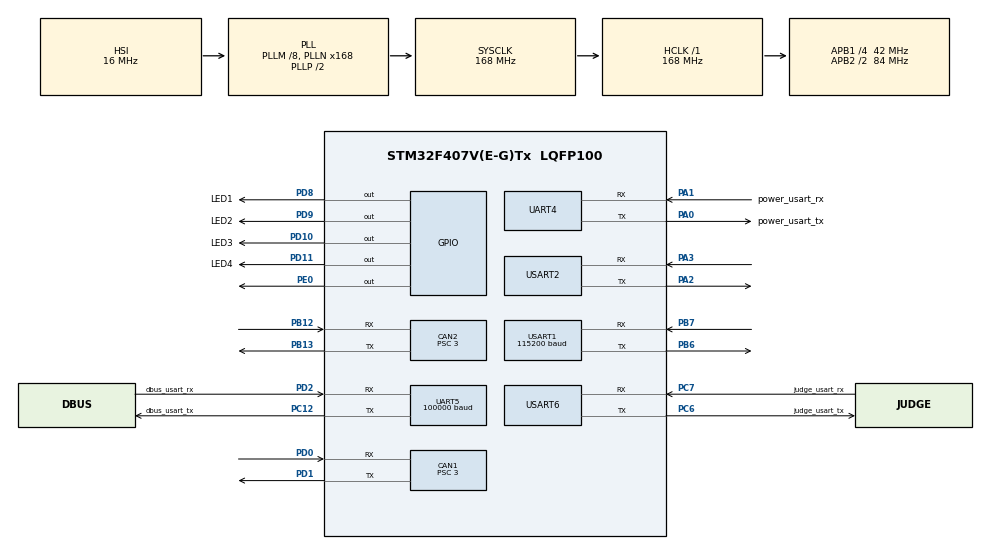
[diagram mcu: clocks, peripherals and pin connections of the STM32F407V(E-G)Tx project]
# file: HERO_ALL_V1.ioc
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CAN1.BS1=CAN_BS1_10TQ
CAN1.BS2=CAN_BS2_3TQ
CAN1.CalculateBaudRate=1000000
CAN1.CalculateTimeBit=999.99
CAN1.CalculateTimeQuantum=71.42857142857143
CAN1.Prescaler=3
CAN2.BS1=CAN_BS1_10TQ
CAN2.BS2=CAN_BS2_3TQ
CAN2.CalculateBaudRate=1000000
CAN2.CalculateTimeBit=999.99
CAN2.CalculateTimeQuantum=71.42857142857143
CAN2.Prescaler=3
Dma.Request0=UART5_RX
Dma.Request1=USART6_RX
Dma.Request2=USART6_TX
Dma.Request3=UART4_RX
Dma.Request4=USART2_RX
Dma.Request5=UART4_TX
Dma.UART4_RX.3.Direction=DMA_PERIPH_TO_MEMORY
Dma.UART4_RX.3.FIFOMode=DMA_FIFOMODE_ENABLE
Dma.UART4_RX.3.FIFOThreshold=DMA_FIFO_THRESHOLD_FULL
Dma.UART4_RX.3.Instance=DMA1_Stream2
Dma.UART4_RX.3.MemBurst=DMA_MBURST_SINGLE
Dma.UART4_RX.3.MemDataAlignment=DMA_MDATAALIGN_BYTE
Dma.UART4_RX.3.MemInc=DMA_MINC_ENABLE
Dma.UART4_RX.3.Mode=DMA_NORMAL
Dma.UART4_RX.3.PeriphBurst=DMA_PBURST_SINGLE
Dma.UART4_RX.3.PeriphDataAlignment=DMA_PDATAALIGN_BYTE
Dma.UART4_RX.3.PeriphInc=DMA_PINC_DISABLE
Dma.UART4_RX.3.Priority=DMA_PRIORITY_HIGH
Dma.UART4_TX.5.Direction=DMA_MEMORY_TO_PERIPH
Dma.UART4_TX.5.FIFOMode=DMA_FIFOMODE_DISABLE
Dma.UART4_TX.5.Instance=DMA1_Stream4
Dma.UART4_TX.5.MemDataAlignment=DMA_MDATAALIGN_BYTE
Dma.UART4_TX.5.MemInc=DMA_MINC_ENABLE
Dma.UART4_TX.5.Mode=DMA_NORMAL
Dma.UART4_TX.5.PeriphDataAlignment=DMA_PDATAALIGN_BYTE
Dma.UART4_TX.5.PeriphInc=DMA_PINC_DISABLE
Dma.UART4_TX.5.Priority=DMA_PRIORITY_HIGH
Dma.UART5_RX.0.Direction=DMA_PERIPH_TO_MEMORY
Dma.UART5_RX.0.FIFOMode=DMA_FIFOMODE_DISABLE
Dma.UART5_RX.0.Instance=DMA1_Stream0
Dma.UART5_RX.0.MemDataAlignment=DMA_MDATAALIGN_BYTE
Dma.UART5_RX.0.MemInc=DMA_MINC_ENABLE
Dma.UART5_RX.0.Mode=DMA_NORMAL
Dma.UART5_RX.0.PeriphDataAlignment=DMA_PDATAALIGN_BYTE
Dma.UART5_RX.0.PeriphInc=DMA_PINC_DISABLE
Dma.UART5_RX.0.Priority=DMA_PRIORITY_HIGH
Dma.USART2_RX.4.Direction=DMA_PERIPH_TO_MEMORY
Dma.USART2_RX.4.FIFOMode=DMA_FIFOMODE_DISABLE
Dma.USART2_RX.4.Instance=DMA1_Stream5
Dma.USART2_RX.4.MemDataAlignment=DMA_MDATAALIGN_BYTE
Dma.USART2_RX.4.MemInc=DMA_MINC_ENABLE
Dma.USART2_RX.4.Mode=DMA_NORMAL
Dma.USART2_RX.4.PeriphDataAlignment=DMA_PDATAALIGN_BYTE
Dma.USART2_RX.4.PeriphInc=DMA_PINC_DISABLE
Dma.USART2_RX.4.Priority=DMA_PRIORITY_LOW
Dma.USART6_RX.1.Direction=DMA_PERIPH_TO_MEMORY
Dma.USART6_RX.1.FIFOMode=DMA_FIFOMODE_DISABLE
Dma.USART6_RX.1.Instance=DMA2_Stream1
Dma.USART6_RX.1.MemDataAlignment=DMA_MDATAALIGN_BYTE
Dma.USART6_RX.1.MemInc=DMA_MINC_ENABLE
Dma.USART6_RX.1.Mode=DMA_NORMAL
Dma.USART6_RX.1.PeriphDataAlignment=DMA_PDATAALIGN_BYTE
Dma.USART6_RX.1.PeriphInc=DMA_PINC_DISABLE
Dma.USART6_RX.1.Priority=DMA_PRIORITY_LOW
Dma.USART6_TX.2.Direction=DMA_MEMORY_TO_PERIPH
Dma.USART6_TX.2.FIFOMode=DMA_FIFOMODE_DISABLE
Dma.USART6_TX.2.Instance=DMA2_Stream6
Dma.USART6_TX.2.MemDataAlignment=DMA_MDATAALIGN_BYTE
Dma.USART6_TX.2.MemInc=DMA_MINC_ENABLE
Dma.USART6_TX.2.Mode=DMA_NORMAL
Dma.USART6_TX.2.PeriphDataAlignment=DMA_PDATAALIGN_BYTE
Dma.USART6_TX.2.PeriphInc=DMA_PINC_DISABLE
Dma.USART6_TX.2.Priority=DMA_PRIORITY_LOW
FREERTOS.INCLUDE_eTaskGetState=1
FREERTOS.INCLUDE_pcTaskGetTaskName=1
FREERTOS.INCLUDE_uxTaskGetStackHighWaterMark=1
FREERTOS.INCLUDE_uxTaskGetStackHighWaterMark2=1
FREERTOS.INCLUDE_vTaskCleanUpResources=1
FREERTOS.INCLUDE_vTaskDelayUntil=1
FREERTOS.INCLUDE_xEventGroupSetBitFromISR=1
FREERTOS.INCLUDE_xQueueGetMutexHolder=1
FREERTOS.INCLUDE_xSemaphoreGetMutexHolder=1
FREERTOS.INCLUDE_xTaskAbortDelay=1
FREERTOS.INCLUDE_xTaskGetCurrentTaskHandle=1
FREERTOS.INCLUDE_xTaskGetHandle=1
FREERTOS.INCLUDE_xTimerPendFunctionCall=1
FREERTOS.Tasks01=dbug,-1,128,dbug_task,As weak,NULL,Dynamic,NULL,NULL;gimbal,1,512,gimbal_task,As external,NULL,Dynamic,NULL,NULL;chassis,0,512,chassis_task,As external,NULL,Dynamic,NULL,NULL;detect,-1,256,detect_task,As external,NULL,Dynamic,NULL,NULL;cali,-1,512,cali_task,As external,NULL,Dynamic,NULL,NULL;judge,0,256,judge_task,As external,NULL,Dynamic,NULL,NULL;pid,2,256,pid_task,As external,NULL,Dynamic,NULL,NULL;shoot,0,128,shoot_task,As external,NULL,Dynamic,NULL,NULL;imu,2,128,imu_task,As external,NULL,Dynamic,NULL,NULL;idel,-3,128,idel_task,Default,NULL,Dynamic,NULL,NULL;can,2,256,can_task,As external,NULL,Dynamic,NULL,NULL
FREERTOS.configENABLE_FPU=1
FREERTOS.configGENERATE_RUN_TIME_STATS=1
FREERTOS.configUSE_STATS_FORMATTING_FUNCTIONS=1
FREERTOS.configUSE_TIMERS=1
FREERTOS.configUSE_TRACE_FACILITY=1
Mcu.Family=STM32F4
Mcu.Name=STM32F407V(E-G)Tx
Mcu.Package=LQFP100
NVIC.CAN1_RX0_IRQn=true\:5\:0\:false\:false\:true\:true\:true\:true
NVIC.CAN2_RX1_IRQn=true\:5\:0\:false\:false\:true\:true\:true\:true
NVIC.DMA1_Stream0_IRQn=true\:5\:0\:false\:false\:true\:true\:false\:true
NVIC.DMA1_Stream2_IRQn=true\:5\:0\:false\:false\:true\:true\:false\:true
NVIC.DMA1_Stream4_IRQn=true\:5\:0\:false\:false\:true\:true\:false\:true
NVIC.DMA1_Stream5_IRQn=true\:5\:0\:false\:false\:true\:true\:false\:true
NVIC.DMA2_Stream1_IRQn=true\:5\:0\:false\:false\:true\:true\:false\:true
NVIC.DMA2_Stream6_IRQn=true\:5\:0\:false\:false\:true\:true\:false\:true
NVIC.PriorityGroup=NVIC_PRIORITYGROUP_4
NVIC.TIM4_IRQn=true\:5\:0\:false\:false\:true\:true\:true\:true
NVIC.TIM6_DAC_IRQn=true\:5\:0\:false\:false\:true\:true\:true\:true
NVIC.TIM7_IRQn=true\:0\:0\:false\:false\:true\:false\:false\:true
NVIC.TimeBase=TIM7_IRQn
NVIC.TimeBaseIP=TIM7
NVIC.UART4_IRQn=true\:5\:0\:false\:false\:true\:true\:true\:true
NVIC.UART5_IRQn=true\:5\:0\:false\:false\:false\:true\:true\:true
NVIC.USART2_IRQn=true\:5\:0\:false\:false\:true\:true\:true\:true
NVIC.USART6_IRQn=true\:5\:0\:false\:false\:false\:true\:true\:true
PA0-WKUP.GPIO_Label=power_usart_tx
PA0-WKUP.Mode=Asynchronous
PA0-WKUP.Signal=UART4_TX
PA1.GPIO_Label=power_usart_rx
PA1.Mode=Asynchronous
PA1.Signal=UART4_RX
PA13.Mode=Serial_Wire
PA13.Signal=SYS_JTMS-SWDIO
PA14.Mode=Serial_Wire
PA14.Signal=SYS_JTCK-SWCLK
PA2.Mode=Asynchronous
PA2.Signal=USART2_TX
PA3.Mode=Asynchronous
PA3.Signal=USART2_RX
PB12.Mode=CAN_Activate
PB12.Signal=CAN2_RX
PB13.Mode=CAN_Activate
PB13.Signal=CAN2_TX
PB6.Mode=Asynchronous
PB6.Signal=USART1_TX
PB7.Mode=Asynchronous
PB7.Signal=USART1_RX
PC12.GPIO_Label=dbus_usart_tx
PC12.Mode=Asynchronous
PC12.Signal=UART5_TX
PC6.GPIO_Label=judge_usart_tx
PC6.Mode=Asynchronous
PC6.Signal=USART6_TX
PC7.GPIO_Label=judge_usart_rx
PC7.Mode=Asynchronous
PC7.Signal=USART6_RX
PD0.Mode=CAN_Activate
PD0.Signal=CAN1_RX
PD1.Mode=CAN_Activate
PD1.Signal=CAN1_TX
PD10.GPIO_Label=LED3
PD10.Signal=GPIO_Output
PD11.GPIO_Label=LED4
PD11.Signal=GPIO_Output
PD2.GPIO_Label=dbus_usart_rx
PD2.Mode=Asynchronous
PD2.Signal=UART5_RX
PD8.GPIO_Label=LED1
PD8.Signal=GPIO_Output
PD9.GPIO_Label=LED2
PD9.Signal=GPIO_Output
PE0.Signal=GPIO_Output
PH0-OSC_IN.Mode=HSE-External-Oscillator
PH0-OSC_IN.Signal=RCC_OSC_IN
PH1-OSC_OUT.Mode=HSE-External-Oscillator
PH1-OSC_OUT.Signal=RCC_OSC_OUT
ProjectManager.HeapSize=0x200
ProjectManager.StackSize=0x400
ProjectManager.TargetToolchain=MDK-ARM V5.27
RCC.48MHZClocksFreq_Value=84000000
RCC.AHBFreq_Value=168000000
RCC.APB1CLKDivider=RCC_HCLK_DIV4
RCC.APB1Freq_Value=42000000
RCC.APB1TimFreq_Value=84000000
RCC.APB2CLKDivider=RCC_HCLK_DIV2
RCC.APB2Freq_Value=84000000
RCC.APB2TimFreq_Value=168000000
RCC.CortexFreq_Value=168000000
RCC.HCLKFreq_Value=168000000
RCC.HSE_VALUE=8000000
RCC.HSI_VALUE=16000000
RCC.LSE_VALUE=32768
RCC.PLLM=8
RCC.PLLN=168
RCC.SYSCLKFreq_VALUE=168000000
RCC.SYSCLKSource=RCC_SYSCLKSOURCE_PLLCLK
RCC.VCOOutputFreq_Value=336000000
TIM4.AutoReloadPreload=TIM_AUTORELOAD_PRELOAD_ENABLE
TIM4.Period=20000-1
TIM4.Prescaler=167
TIM6.AutoReloadPreload=TIM_AUTORELOAD_PRELOAD_ENABLE
TIM6.Period=100-1
TIM6.Prescaler=7-1
UART4.VirtualMode=Asynchronous
UART5.BaudRate=100000
UART5.Parity=PARITY_EVEN
UART5.VirtualMode=Asynchronous
UART5.WordLength=WORDLENGTH_9B
USART1.BaudRate=115200
USART1.VirtualMode=VM_ASYNC
USART2.VirtualMode=VM_ASYNC
USART6.VirtualMode=VM_ASYNC
VP_FREERTOS_VS_CMSIS_V1.Mode=CMSIS_V1
VP_SYS_VS_tim7.Mode=TIM7
VP_TIM4_VS_ClockSourceINT.Mode=Internal
VP_TIM6_VS_ClockSourceINT.Mode=Enable_Timer
board=custom

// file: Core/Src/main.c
/* USER CODE BEGIN Header */
/**
  ******************************************************************************
  * @file           : main.c
  * @brief          : Main program body
  ******************************************************************************
  * @attention
  *
  * <h2><center>&copy; Copyright (c) 2021 STMicroelectronics.
  * All rights reserved.</center></h2>
  *
  * This software component is licensed by ST under Ultimate Liberty license
  * SLA0044, the "License"; You may not use this file except in compliance with
  * the License. You may obtain a copy of the License at:
  *                             www.st.com/SLA0044
  *
  ******************************************************************************
  */
/* USER CODE END Header */
#include "main.h"
#include "cmsis_os.h"
#include "can.h"
#include "dma.h"
#include "tim.h"
#include "usart.h"
#include "gpio.h"

/* USER CODE BEGIN Includes */
#include "remote_control.h"
#include "bsp_can.h"
#include "ins_task.h"
#include "calibrate_task.h"
#include "gimbal_task.h"
#include "gimbal_behaviour.h"
#include "chassis_task.h"
#include "chassis_behaviour.h"
#include "shoot_task.h"
#include "CMS_interface.h"
/* USER CODE END Includes */

#include "UI_bsp.h"

void SystemClock_Config(void);
void MX_FREERTOS_Init(void);

/* USER CODE BEGIN 0 */
const RC_ctrl_t *local_rc_ctrl;
const motor_measure_t * yaw;
const motor_measure_t * pitch;
const motor_measure_t * shoot1;
const motor_measure_t * shoot2;
const motor_measure_t * trigle;
uint8_t pcWriteBuffer[200];
volatile uint32_t ulHighFrequencyTimerTicks;

/* USER CODE END 0 */

int main(void)
{

  /* MCU Configuration--------------------------------------------------------*/

  /* Reset of all peripherals, Initializes the Flash interface and the Systick. */
  HAL_Init();

  /* Configure the system clock */
  SystemClock_Config();

  /* USER CODE BEGIN SysInit */
   HAL_Delay(500);
  /* USER CODE END SysInit */

  /* Initialize all configured peripherals */
  MX_GPIO_Init();
  MX_DMA_Init();
  MX_CAN1_Init();
  MX_CAN2_Init();
  MX_UART4_Init();
  MX_UART5_Init();
  MX_USART1_UART_Init();
  MX_USART6_UART_Init();
  MX_USART2_UART_Init();
  MX_TIM4_Init();
  MX_TIM6_Init();
  /* USER CODE BEGIN 2 */
	can_filter_init();
	remote_control_init();
	cali_param_init();
	//local_rc_ctrl = get_remote_control_point();
	yaw = get_yaw_gimbal_motor_measure_point();
	//pitch = get_pitch_gimbal_motor_measure_point();
	//shoot1 = get_shoot_motor_measure_point(0);
	//shoot2 = get_shoot_motor_measure_point(1);
	//HAL_GPIO_WritePin(GPIOE,GPIO_PIN_0,GPIO_PIN_SET);
	//trigle = get_yaw_gimbal_motor_measure_point();
	HAL_TIM_Base_Start_IT(&htim6);
	HAL_TIM_Base_Start_IT(&htim4);
	USER_CMS_init(&huart4,&CMS_Hub,&hdma_uart4_tx,&hdma_uart4_rx);
	//while(1){
			//USER_ReadPowerState();
	//		HAL_Delay(100);
	//}
	//HAL_UART_Receive_IT(&huart4,RxData,1);
  /* USER CODE END 2 */

  /* Call init function for freertos objects (in freertos.c) */
  MX_FREERTOS_Init();
  /* Start scheduler */
  osKernelStart();

  /* We should never get here as control is now taken by the scheduler */
  /* Infinite loop */
  while (1)
  {

  }
}

void SystemClock_Config(void)
{
  RCC_OscInitTypeDef RCC_OscInitStruct = {0};
  RCC_ClkInitTypeDef RCC_ClkInitStruct = {0};

  /** Configure the main internal regulator output voltage
  */
  __HAL_RCC_PWR_CLK_ENABLE();
  __HAL_PWR_VOLTAGESCALING_CONFIG(PWR_REGULATOR_VOLTAGE_SCALE1);
  /** Initializes the RCC Oscillators according to the specified parameters
  * in the RCC_OscInitTypeDef structure.
  */
  RCC_OscInitStruct.OscillatorType = RCC_OSCILLATORTYPE_HSI;
  RCC_OscInitStruct.HSIState = RCC_HSI_ON;
  RCC_OscInitStruct.HSICalibrationValue = RCC_HSICALIBRATION_DEFAULT;
  RCC_OscInitStruct.PLL.PLLState = RCC_PLL_ON;
  RCC_OscInitStruct.PLL.PLLSource = RCC_PLLSOURCE_HSI;
  RCC_OscInitStruct.PLL.PLLM = 8;
  RCC_OscInitStruct.PLL.PLLN = 168;
  RCC_OscInitStruct.PLL.PLLP = RCC_PLLP_DIV2;
  RCC_OscInitStruct.PLL.PLLQ = 4;
  if (HAL_RCC_OscConfig(&RCC_OscInitStruct) != HAL_OK)
  {
    Error_Handler();
  }
  /** Initializes the CPU, AHB and APB buses clocks
  */
  RCC_ClkInitStruct.ClockType = RCC_CLOCKTYPE_HCLK|RCC_CLOCKTYPE_SYSCLK
                              |RCC_CLOCKTYPE_PCLK1|RCC_CLOCKTYPE_PCLK2;
  RCC_ClkInitStruct.SYSCLKSource = RCC_SYSCLKSOURCE_PLLCLK;
  RCC_ClkInitStruct.AHBCLKDivider = RCC_SYSCLK_DIV1;
  RCC_ClkInitStruct.APB1CLKDivider = RCC_HCLK_DIV4;
  RCC_ClkInitStruct.APB2CLKDivider = RCC_HCLK_DIV2;

  if (HAL_RCC_ClockConfig(&RCC_ClkInitStruct, FLASH_LATENCY_5) != HAL_OK)
  {
    Error_Handler();
  }
}

/* USER CODE BEGIN 4 */
void dbug_task(void const * argument)
{
	uint32_t xLastWakeTime;
	xLastWakeTime = osKernelSysTick();

	while(1)
	{

		//printf("name            count              rate\r\n");
//		U1printf("name            count              rate\r\n");
//		vTaskGetRunTimeStats((char *)&pcWriteBuffer);
//		U1printf("%s\r\n", pcWriteBuffer);
		//printf("pit_kp         %f\r\n",gimbal_control.gimbal_pitch_motor.gimbal_motor_relative_angle_pid.kp);
		//printf("                    pit_ki         %f\r\n",gimbal_control.gimbal_pitch_motor.gimbal_motor_relative_angle_pid.ki);
		//printf("                    pit_kd         %f\r\n",gimbal_control.gimbal_pitch_motor.gimbal_motor_relative_angle_pid.kd);
		//printf("                    pit_angl_out         %f\r\n",gimbal_control.gimbal_pitch_motor.gimbal_motor_relative_angle_pid.out);
		//printf("                    pit_angl_iout         %f\r\n",gimbal_control.gimbal_pitch_motor.gimbal_motor_relative_angle_pid.Iout);
		//printf("                    pit_gyro_out         %f\r\n",gimbal_control.gimbal_pitch_motor.gimbal_motor_gyro_pid.out);
		//printf("                    pit_angle          %d\r\n",gimbal_control.gimbal_pitch_motor.gimbal_motor_measure->ecd);

		//printf("yaw_kp         %f\r\n",gimbal_control.gimbal_yaw_motor.gimbal_motor_absolute_angle_pid.kp);
		//printf("                    yaw_ki         %f\r\n",gimbal_control.gimbal_yaw_motor.gimbal_motor_absolute_angle_pid.ki);
		//printf("                    yaw_kd         %f\r\n",gimbal_control.gimbal_yaw_motor.gimbal_motor_absolute_angle_pid.kd);

		//printf("		************************************************************************************         \r\n");
		//printf("		      yaw_angl_out         %f\r\n",					   gimbal_control.gimbal_yaw_motor.gimbal_motor_absolute_angle_pid.out);
		//printf("                    yaw_angl_iout          %f\r\n",gimbal_control.gimbal_yaw_motor.gimbal_motor_absolute_angle_pid.Iout);
		//printf("                    yaw_gyro_out           %f\r\n",gimbal_control.gimbal_yaw_motor.gimbal_motor_absolute_gyro_pid.out);
		//printf("                    yaw_current_set        %d\r\n",(int)gimbal_control.yaw_current_set);
		//printf("                    yaw_angle=     %f\r\n",gimbal_control.gimbal_yaw_motor.absolute_angle);
		//printf("		      yaw_angle_set=  %f\r\n",gimbal_control.gimbal_yaw_motor.absolute_angle_set);
		//printf("		      yaw_angle_err=         %f\r\n",gimbal_control.gimbal_yaw_motor.gimbal_motor_absolute_angle_pid.err);

		//printf("		      can_time=         %d\r\n",gimbal_control.time);
//		printf("set=%f\r\n",shoot_control.set_angle);
//	    printf("data=%f\r\n",shoot_control.angle);

		//printf("                    yaw_temp               %d\r\n",(int)gimbal_control.gimbal_yaw_motor.gimbal_motor_measure->temperate);

		//printf("                    can_yaw_speed          %d\r\n",(int)gimbal_control.can_yaw_speed);
//			   Circle_Draw(&G4,"004",UI_Graph_Change,9,UI_Color_Pink,8,700,700,100);
//			   UI_ReFresh(1,G4);
////			   printf("r/n");
////			   printf("******************************************************/r/n");
//			   Circle_Draw(&G4,"004",UI_Graph_Change,9,UI_Color_Cyan,8,700,700,100);
//			   UI_ReFresh(1,G4);
////			   printf("******************************************************/r/n");
//			   printf("r/n");

//		printf("\r\n");
//		printf(" * * * * * * * * * *\r\n");
//		printf("pit = %f \r\n",shoot_control.my_shoot_data.pit_set);
//		printf("yaw = %f \r\n",shoot_control.my_shoot_data.yaw_set);
//		printf("en  = %d \r\n",shoot_control.my_shoot_data.shoot_en);
//		printf(" * * * * * * * * * * \r\n");
//		printf("\r\n");
//
//		UI_paint_send(1);
//		//printf("%d",(int32_t)UI_DATA_SEND);
//		HAL_UART_Transmit(&huart6,UI_DATA_SEND , 30, 0xf);

		printf("\r\n");
		printf(" * * * * * * * * * *\r\n");
		printf("fric0_speed : %d\r\n",shoot_control.shoot_motor_measure0->speed_rpm);
		printf("fric1_speed : %d\r\n",shoot_control.shoot_motor_measure1->speed_rpm);
		printf("\r\n");
		printf(" * * * * * * * * * *\r\n");

		osDelayUntil(&xLastWakeTime,5);
	}

}

void configureTimerForRunTimeStats(void)
{
	ulHighFrequencyTimerTicks = 0ul;
}
unsigned long getRunTimeCounterValue(void)
{
	return ulHighFrequencyTimerTicks;
}
/* USER CODE END 4 */

 /**
  * @brief  Period elapsed callback in non blocking mode
  * @note   This function is called  when TIM7 interrupt took place, inside
  * HAL_TIM_IRQHandler(). It makes a direct call to HAL_IncTick() to increment
  * a global variable "uwTick" used as application time base.
  * @param  htim : TIM handle
  * @retval None
  */
void HAL_TIM_PeriodElapsedCallback(TIM_HandleTypeDef *htim)
{
  if (htim->Instance == TIM7) {
    HAL_IncTick();
  }
  /* USER CODE BEGIN Callback 1 */
  else if(__HAL_TIM_GET_IT_SOURCE(&htim6,TIM_IT_UPDATE)!=RESET)
  {
    ulHighFrequencyTimerTicks++;
    __HAL_TIM_CLEAR_IT(&htim6, TIM_IT_UPDATE);
  }

  if(htim->Instance == TIM4)
  {
		//CMS_Hub.Send_Flag = 1;

  }
  /* USER CODE END Callback 1 */
}

void Error_Handler(void)
{
  __disable_irq();
  while (1)
  {
  }
}

/************************ (C) COPYRIGHT STMicroelectronics *****END OF FILE****/

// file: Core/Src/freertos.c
/* USER CODE BEGIN Header */
/**
  ******************************************************************************
  * File Name          : freertos.c
  * Description        : Code for freertos applications
  ******************************************************************************
  * @attention
  *
  * <h2><center>&copy; Copyright (c) 2021 STMicroelectronics.
  * All rights reserved.</center></h2>
  *
  * This software component is licensed by ST under Ultimate Liberty license
  * SLA0044, the "License"; You may not use this file except in compliance with
  * the License. You may obtain a copy of the License at:
  *                             www.st.com/SLA0044
  *
  ******************************************************************************
  */
/* USER CODE END Header */

#include "FreeRTOS.h"
#include "task.h"
#include "main.h"
#include "cmsis_os.h"

osThreadId dbugHandle;
osThreadId gimbalHandle;
osThreadId chassisHandle;
osThreadId detectHandle;
osThreadId caliHandle;
osThreadId judgeHandle;
osThreadId pidHandle;
osThreadId shootHandle;
osThreadId imuHandle;
osThreadId idelHandle;
osThreadId canHandle;

void dbug_task(void const * argument);
extern void gimbal_task(void const * argument);
extern void chassis_task(void const * argument);
extern void detect_task(void const * argument);
extern void cali_task(void const * argument);
extern void judge_task(void const * argument);
extern void pid_task(void const * argument);
extern void shoot_task(void const * argument);
extern void imu_task(void const * argument);
void idel_task(void const * argument);
extern void can_task(void const * argument);

void MX_FREERTOS_Init(void); /* (MISRA C 2004 rule 8.1) */

/* GetIdleTaskMemory prototype (linked to static allocation support) */
void vApplicationGetIdleTaskMemory( StaticTask_t **ppxIdleTaskTCBBuffer, StackType_t **ppxIdleTaskStackBuffer, uint32_t *pulIdleTaskStackSize );

/* GetTimerTaskMemory prototype (linked to static allocation support) */
void vApplicationGetTimerTaskMemory( StaticTask_t **ppxTimerTaskTCBBuffer, StackType_t **ppxTimerTaskStackBuffer, uint32_t *pulTimerTaskStackSize );

/* Hook prototypes */
void configureTimerForRunTimeStats(void);
unsigned long getRunTimeCounterValue(void);

/* USER CODE BEGIN 1 */
/* Functions needed when configGENERATE_RUN_TIME_STATS is on */
__weak void configureTimerForRunTimeStats(void)
{

}

__weak unsigned long getRunTimeCounterValue(void)
{
return 0;
}
/* USER CODE END 1 */

/* USER CODE BEGIN GET_IDLE_TASK_MEMORY */
static StaticTask_t xIdleTaskTCBBuffer;
static StackType_t xIdleStack[configMINIMAL_STACK_SIZE];

void vApplicationGetIdleTaskMemory( StaticTask_t **ppxIdleTaskTCBBuffer, StackType_t **ppxIdleTaskStackBuffer, uint32_t *pulIdleTaskStackSize )
{
  *ppxIdleTaskTCBBuffer = &xIdleTaskTCBBuffer;
  *ppxIdleTaskStackBuffer = &xIdleStack[0];
  *pulIdleTaskStackSize = configMINIMAL_STACK_SIZE;
  /* place for user code */
}
/* USER CODE END GET_IDLE_TASK_MEMORY */

/* USER CODE BEGIN GET_TIMER_TASK_MEMORY */
static StaticTask_t xTimerTaskTCBBuffer;
static StackType_t xTimerStack[configTIMER_TASK_STACK_DEPTH];

void vApplicationGetTimerTaskMemory( StaticTask_t **ppxTimerTaskTCBBuffer, StackType_t **ppxTimerTaskStackBuffer, uint32_t *pulTimerTaskStackSize )
{
  *ppxTimerTaskTCBBuffer = &xTimerTaskTCBBuffer;
  *ppxTimerTaskStackBuffer = &xTimerStack[0];
  *pulTimerTaskStackSize = configTIMER_TASK_STACK_DEPTH;
  /* place for user code */
}
/* USER CODE END GET_TIMER_TASK_MEMORY */

void MX_FREERTOS_Init(void) {

  /* Create the thread(s) */
  /* definition and creation of dbug */
  osThreadDef(dbug, dbug_task, osPriorityBelowNormal, 0, 128);
  dbugHandle = osThreadCreate(osThread(dbug), NULL);

  /* definition and creation of gimbal */
  osThreadDef(gimbal, gimbal_task, osPriorityAboveNormal, 0, 512);
  gimbalHandle = osThreadCreate(osThread(gimbal), NULL);

  /* definition and creation of chassis */
  osThreadDef(chassis, chassis_task, osPriorityNormal, 0, 512);
  chassisHandle = osThreadCreate(osThread(chassis), NULL);

  /* definition and creation of detect */
 // osThreadDef(detect, detect_task, osPriorityBelowNormal, 0, 256);
 // detectHandle = osThreadCreate(osThread(detect), NULL);

  /* definition and creation of cali */
 // osThreadDef(cali, cali_task, osPriorityBelowNormal, 0, 512);
 // caliHandle = osThreadCreate(osThread(cali), NULL);

  /* definition and creation of judge */
  osThreadDef(judge, judge_task, osPriorityNormal, 0, 256);
  judgeHandle = osThreadCreate(osThread(judge), NULL);

  /* definition and creation of pid */
  osThreadDef(pid, pid_task, osPriorityHigh, 0, 256);
  pidHandle = osThreadCreate(osThread(pid), NULL);

  /* definition and creation of shoot */
  osThreadDef(shoot, shoot_task, osPriorityNormal, 0, 128);
  shootHandle = osThreadCreate(osThread(shoot), NULL);

  /* definition and creation of imu */
  osThreadDef(imu, imu_task, osPriorityHigh, 0, 128);
  imuHandle = osThreadCreate(osThread(imu), NULL);

  /* definition and creation of idel */
  osThreadDef(idel, idel_task, osPriorityIdle, 0, 128);
  idelHandle = osThreadCreate(osThread(idel), NULL);

  /* definition and creation of can */
//  osThreadDef(can, can_task, osPriorityNormal, 0, 256);
//  canHandle = osThreadCreate(osThread(can), NULL);

}

__weak void dbug_task(void const * argument)
{
  for(;;)
  {
    osDelay(1);
  }
}

void idel_task(void const * argument)
{
  for(;;)
  {
    osDelay(1);
  }
}

/************************ (C) COPYRIGHT STMicroelectronics *****END OF FILE****/
